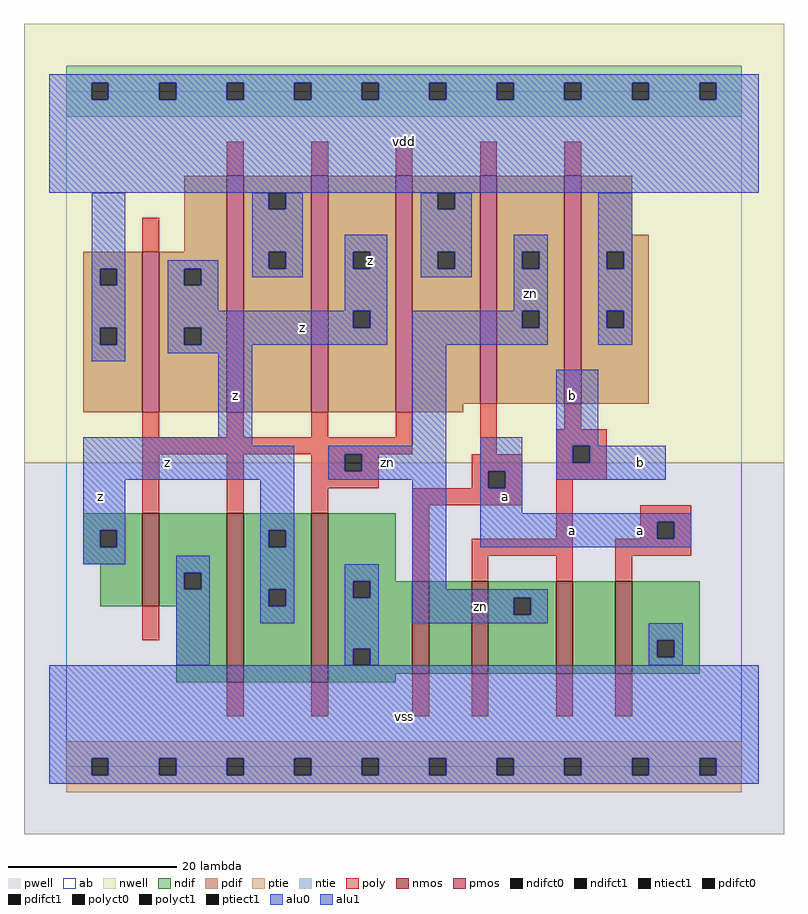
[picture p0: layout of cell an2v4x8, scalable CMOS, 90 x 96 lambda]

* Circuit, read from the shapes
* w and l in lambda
.subckt an2v4x8 a b vdd vss z zn
M1 vss zn z vss nfet w=11 l=2
M2 z zn vss vss nfet w=20 l=2 m=2
M3 n1 a vss vss nfet w=11 l=2
M4 zn b n1 vss nfet w=11 l=2
M5 n2 b zn vss nfet w=11 l=2
M6 vss a n2 vss nfet w=11 l=2
M7 z zn vdd vdd pfet w=19 l=2
M8 vdd zn z vdd pfet w=28 l=2 m=3
M9 zn a vdd vdd pfet w=27 l=2
M10 vdd b zn vdd pfet w=27 l=2
.ends

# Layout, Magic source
magic
tech scmos
<< ab >>
rect 0 0 80 80
<< nwell >>
rect -5 36 85 88
<< pwell >>
rect -5 -8 85 36
<< poly >>
rect 19 70 21 74
rect 29 70 31 74
rect 39 70 41 74
rect 49 70 51 74
rect 59 70 61 74
rect 9 61 11 65
rect 9 39 11 42
rect 19 39 21 42
rect 29 39 31 42
rect 39 39 41 42
rect 9 37 41 39
rect 49 37 51 43
rect 59 40 61 43
rect 58 38 64 40
rect 9 30 11 37
rect 19 30 21 37
rect 29 35 33 37
rect 35 35 37 37
rect 29 33 37 35
rect 48 35 54 37
rect 48 33 50 35
rect 52 33 54 35
rect 29 30 31 33
rect 41 31 54 33
rect 58 36 60 38
rect 62 36 64 38
rect 58 34 64 36
rect 9 15 11 19
rect 41 22 43 31
rect 58 27 60 34
rect 68 29 74 31
rect 68 27 70 29
rect 72 27 74 29
rect 48 25 60 27
rect 48 22 50 25
rect 58 22 60 25
rect 65 25 74 27
rect 65 22 67 25
rect 19 6 21 10
rect 29 6 31 10
rect 41 6 43 11
rect 48 6 50 11
rect 58 6 60 11
rect 65 6 67 11
<< ndif >>
rect 2 28 9 30
rect 2 26 4 28
rect 6 26 9 28
rect 2 24 9 26
rect 4 19 9 24
rect 11 23 19 30
rect 11 21 14 23
rect 16 21 19 23
rect 11 19 19 21
rect 13 10 19 19
rect 21 28 29 30
rect 21 26 24 28
rect 26 26 29 28
rect 21 21 29 26
rect 21 19 24 21
rect 26 19 29 21
rect 21 10 29 19
rect 31 22 39 30
rect 31 20 34 22
rect 36 20 41 22
rect 31 14 41 20
rect 31 12 34 14
rect 36 12 41 14
rect 31 11 41 12
rect 43 11 48 22
rect 50 20 58 22
rect 50 18 53 20
rect 55 18 58 20
rect 50 11 58 18
rect 60 11 65 22
rect 67 15 75 22
rect 67 13 70 15
rect 72 13 75 15
rect 67 11 75 13
rect 31 10 39 11
<< pdif >>
rect 14 61 19 70
rect 2 59 9 61
rect 2 57 4 59
rect 6 57 9 59
rect 2 52 9 57
rect 2 50 4 52
rect 6 50 9 52
rect 2 42 9 50
rect 11 59 19 61
rect 11 57 14 59
rect 16 57 19 59
rect 11 52 19 57
rect 11 50 14 52
rect 16 50 19 52
rect 11 42 19 50
rect 21 68 29 70
rect 21 66 24 68
rect 26 66 29 68
rect 21 61 29 66
rect 21 59 24 61
rect 26 59 29 61
rect 21 42 29 59
rect 31 61 39 70
rect 31 59 34 61
rect 36 59 39 61
rect 31 54 39 59
rect 31 52 34 54
rect 36 52 39 54
rect 31 42 39 52
rect 41 68 49 70
rect 41 66 44 68
rect 46 66 49 68
rect 41 61 49 66
rect 41 59 44 61
rect 46 59 49 61
rect 41 43 49 59
rect 51 61 59 70
rect 51 59 54 61
rect 56 59 59 61
rect 51 54 59 59
rect 51 52 54 54
rect 56 52 59 54
rect 51 43 59 52
rect 61 63 67 70
rect 61 61 69 63
rect 61 59 64 61
rect 66 59 69 61
rect 61 54 69 59
rect 61 52 64 54
rect 66 52 69 54
rect 61 43 69 52
rect 41 42 47 43
<< alu1 >>
rect -2 81 82 82
rect -2 79 3 81
rect 5 79 11 81
rect 13 79 19 81
rect 21 79 27 81
rect 29 79 35 81
rect 37 79 43 81
rect 45 79 51 81
rect 53 79 59 81
rect 61 79 67 81
rect 69 79 75 81
rect 77 79 82 81
rect -2 68 82 79
rect 12 59 18 60
rect 12 57 14 59
rect 16 57 18 59
rect 33 61 38 63
rect 33 59 34 61
rect 36 59 38 61
rect 12 54 18 57
rect 33 54 38 59
rect 12 52 34 54
rect 36 52 38 54
rect 12 50 14 52
rect 16 50 38 52
rect 12 49 22 50
rect 18 39 22 49
rect 2 38 22 39
rect 2 34 27 38
rect 2 28 7 34
rect 2 26 4 28
rect 6 26 7 28
rect 2 24 7 26
rect 23 28 27 34
rect 23 26 24 28
rect 26 26 27 28
rect 23 21 27 26
rect 23 19 24 21
rect 26 19 27 21
rect 23 17 27 19
rect 49 35 54 39
rect 49 33 50 35
rect 52 33 54 35
rect 58 38 63 47
rect 58 36 60 38
rect 62 36 71 38
rect 58 34 71 36
rect 49 30 54 33
rect 49 29 74 30
rect 49 27 70 29
rect 72 27 74 29
rect 49 26 74 27
rect -2 1 82 12
rect -2 -1 3 1
rect 5 -1 11 1
rect 13 -1 19 1
rect 21 -1 27 1
rect 29 -1 35 1
rect 37 -1 43 1
rect 45 -1 51 1
rect 53 -1 59 1
rect 61 -1 67 1
rect 69 -1 75 1
rect 77 -1 82 1
rect -2 -2 82 -1
<< ptie >>
rect 0 1 80 3
rect 0 -1 3 1
rect 5 -1 11 1
rect 13 -1 19 1
rect 21 -1 27 1
rect 29 -1 35 1
rect 37 -1 43 1
rect 45 -1 51 1
rect 53 -1 59 1
rect 61 -1 67 1
rect 69 -1 75 1
rect 77 -1 80 1
rect 0 -3 80 -1
<< ntie >>
rect 0 81 80 83
rect 0 79 3 81
rect 5 79 11 81
rect 13 79 19 81
rect 21 79 27 81
rect 29 79 35 81
rect 37 79 43 81
rect 45 79 51 81
rect 53 79 59 81
rect 61 79 67 81
rect 69 79 75 81
rect 77 79 80 81
rect 0 77 80 79
<< nmos >>
rect 9 19 11 30
rect 19 10 21 30
rect 29 10 31 30
rect 41 11 43 22
rect 48 11 50 22
rect 58 11 60 22
rect 65 11 67 22
<< pmos >>
rect 9 42 11 61
rect 19 42 21 70
rect 29 42 31 70
rect 39 42 41 70
rect 49 43 51 70
rect 59 43 61 70
<< polyct0 >>
rect 33 35 35 37
<< polyct1 >>
rect 50 33 52 35
rect 60 36 62 38
rect 70 27 72 29
<< ndifct0 >>
rect 14 21 16 23
rect 34 20 36 22
rect 34 12 36 14
rect 53 18 55 20
rect 70 13 72 15
<< ndifct1 >>
rect 4 26 6 28
rect 24 26 26 28
rect 24 19 26 21
<< ntiect1 >>
rect 3 79 5 81
rect 11 79 13 81
rect 19 79 21 81
rect 27 79 29 81
rect 35 79 37 81
rect 43 79 45 81
rect 51 79 53 81
rect 59 79 61 81
rect 67 79 69 81
rect 75 79 77 81
<< ptiect1 >>
rect 3 -1 5 1
rect 11 -1 13 1
rect 19 -1 21 1
rect 27 -1 29 1
rect 35 -1 37 1
rect 43 -1 45 1
rect 51 -1 53 1
rect 59 -1 61 1
rect 67 -1 69 1
rect 75 -1 77 1
<< pdifct0 >>
rect 4 57 6 59
rect 4 50 6 52
rect 24 66 26 68
rect 24 59 26 61
rect 44 66 46 68
rect 44 59 46 61
rect 54 59 56 61
rect 54 52 56 54
rect 64 59 66 61
rect 64 52 66 54
<< pdifct1 >>
rect 14 57 16 59
rect 14 50 16 52
rect 34 59 36 61
rect 34 52 36 54
<< alu0 >>
rect 3 59 7 68
rect 22 66 24 68
rect 26 66 28 68
rect 22 61 28 66
rect 42 66 44 68
rect 46 66 48 68
rect 3 57 4 59
rect 6 57 7 59
rect 3 52 7 57
rect 3 50 4 52
rect 6 50 7 52
rect 3 48 7 50
rect 22 59 24 61
rect 26 59 28 61
rect 22 58 28 59
rect 42 61 48 66
rect 42 59 44 61
rect 46 59 48 61
rect 42 58 48 59
rect 53 61 57 63
rect 53 59 54 61
rect 56 59 57 61
rect 53 54 57 59
rect 41 52 54 54
rect 56 52 57 54
rect 41 50 57 52
rect 63 61 67 68
rect 63 59 64 61
rect 66 59 67 61
rect 63 54 67 59
rect 63 52 64 54
rect 66 52 67 54
rect 63 50 67 52
rect 41 38 45 50
rect 31 37 45 38
rect 31 35 33 37
rect 35 35 45 37
rect 31 34 45 35
rect 13 23 17 25
rect 13 21 14 23
rect 16 21 17 23
rect 13 12 17 21
rect 33 22 37 24
rect 33 20 34 22
rect 36 20 37 22
rect 33 14 37 20
rect 41 21 45 34
rect 41 20 57 21
rect 41 18 53 20
rect 55 18 57 20
rect 41 17 57 18
rect 33 12 34 14
rect 36 12 37 14
rect 69 15 73 17
rect 69 13 70 15
rect 72 13 73 15
rect 69 12 73 13
<< labels >>
rlabel alu0 49 19 49 19 6 zn
rlabel alu0 38 36 38 36 6 zn
rlabel alu0 55 56 55 56 6 zn
rlabel alu1 4 32 4 32 6 z
rlabel alu1 12 36 12 36 6 z
rlabel alu1 20 44 20 44 6 z
rlabel alu1 28 52 28 52 6 z
rlabel alu1 36 60 36 60 6 z
rlabel alu1 40 6 40 6 6 vss
rlabel alu1 52 32 52 32 6 a
rlabel alu1 40 74 40 74 6 vdd
rlabel alu1 60 28 60 28 6 a
rlabel alu1 68 36 68 36 6 b
rlabel alu1 68 28 68 28 6 a
rlabel alu1 60 44 60 44 6 b
<< end >>
